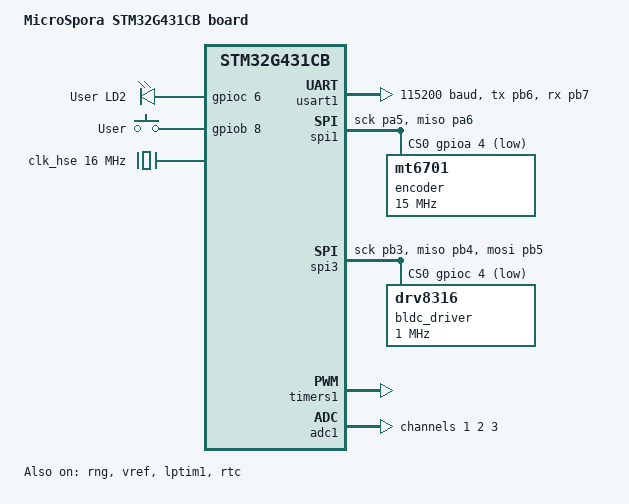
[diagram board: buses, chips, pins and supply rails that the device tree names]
/*
 * Copyright (c) 2019 Richard Osterloh <richard.osterloh@gmail.com>
 *
 * SPDX-License-Identifier: Apache-2.0
 */

/dts-v1/;
#include <st/g4/stm32g431Xb.dtsi>
#include <st/g4/stm32g431r(6-8-b)tx-pinctrl.dtsi>
#include <zephyr/dt-bindings/input/input-event-codes.h>

/ {
	model = "MicroSpora STM32G431CB board";
	compatible = "st,stm32g431cb-nucleo";

	chosen {
		zephyr,console = &usart1;
		zephyr,sram = &sram0;
		zephyr,flash = &flash0;
	};

	leds: leds {
		compatible = "gpio-leds";

		red_led: led_0 {
			gpios = <&gpioc 6 GPIO_ACTIVE_HIGH>;
			label = "User LD2";
		};
	};

	gpio_keys {
		compatible = "gpio-keys";

		user_button: button {
			label = "User";
			gpios = <&gpiob 8 GPIO_ACTIVE_HIGH>;
			zephyr,code = <INPUT_KEY_0>;
		};
	};

	aliases {
		led0 = &red_led;
		mcuboot-led0 = &red_led;
		sw0 = &user_button;
		adc0 = &adc1;
		watchdog0 = &iwdg;
	};
};

/*
zephyr_udc0: &usb {
	pinctrl-0 = <&usb_dm_pa11 &usb_dp_pa12>;
	pinctrl-names = "default";
	status = "okay";
};

#include <../boards/common/usb/cdc_acm_serial.dtsi>
*/

&clk_hse {
	clock-frequency = <DT_FREQ_M(16)>;
	status = "okay";
};

&clk_hsi48 {
	status = "okay";
};

&pll {
	div-m = <4>;
	mul-n = <85>;
	div-p = <2>;
	div-q = <2>;
	div-r = <2>;
	clocks = <&clk_hse>;
	status = "okay";
};

&rcc {
	clocks = <&pll>;
	clock-frequency = <DT_FREQ_M(170)>;
	ahb-prescaler = <1>;
	apb1-prescaler = <1>;
	apb2-prescaler = <1>;
};

&rng {
	clocks = <&rcc STM32_CLOCK_BUS_AHB2 0x04000000>,
		 <&rcc STM32_SRC_HSI48 CLK48_SEL(0)>;
	status = "okay";
};

&usart1 {
	pinctrl-0 = <&usart1_tx_pb6 &usart1_rx_pb7>;
	pinctrl-names = "default";
	current-speed = <115200>;
	status = "okay";
};

&spi1 {
	pinctrl-0 = <&spi1_sck_pa5 &spi1_miso_pa6>;
	pinctrl-names = "default";
	cs-gpios = <&gpioa 4 (GPIO_ACTIVE_LOW | GPIO_PULL_UP)>;
	status = "okay";

	encoder: mt6701@0 {
		compatible = "mt6701";
		reg = <0>;
		spi-max-frequency = <DT_FREQ_M(15)>;
		status = "okay";
	};
};

&spi3 {
	pinctrl-0 = <&spi3_sck_pb3 &spi3_miso_pb4 &spi3_mosi_pb5>;
	pinctrl-names = "default";
	cs-gpios = <&gpioc 4 (GPIO_ACTIVE_LOW | GPIO_PULL_UP)>;
	status = "okay";

	bldc_driver: drv8316@0 {
		compatible = "drv8316";
		reg = <0>;
		spi-max-frequency = <DT_FREQ_M(1)>;
		status = "okay";
	};
};

&timers1 {
	status = "okay";

	svpwm: svpwm {
		status = "okay";
		pinctrl-0 = <&tim1_ch3_pa10 &tim1_ch2_pa9 &tim1_ch1_pa8 &tim1_ch3n_pb15 &tim1_ch2n_pb14 &tim1_ch1n_pb13>;
		pinctrl-names = "default";
	};
};

&adc1 {
	#address-cells = <1>;
	#size-cells = <0>;
	st,adc-clock-source = "SYNC";
	st,adc-prescaler = <4>;
	status = "okay";

	channel@1 {
		reg = <1>;
		zephyr,gain = "ADC_GAIN_1";
		zephyr,reference = "ADC_REF_INTERNAL";
		zephyr,acquisition-time = <ADC_ACQ_TIME_MAX>;
		zephyr,resolution = <12>;
	};

	channel@2 {
		reg = <2>;
		zephyr,gain = "ADC_GAIN_1";
		zephyr,reference = "ADC_REF_INTERNAL";
		zephyr,acquisition-time = <ADC_ACQ_TIME_MAX>;
		zephyr,resolution = <12>;
	};

	channel@3 {
		reg = <3>;
		zephyr,gain = "ADC_GAIN_1";
		zephyr,reference = "ADC_REF_INTERNAL";
		zephyr,acquisition-time = <ADC_ACQ_TIME_MAX>;
		zephyr,resolution = <12>;
	};
};


&vref {
	status = "okay";
};

stm32_lp_tick_source: &lptim1 {
	clocks = <&rcc STM32_CLOCK_BUS_APB1 0x80000000>,
		 <&rcc STM32_SRC_LSE LPTIM1_SEL(3)>;
	status = "okay";
};

&rtc {
	clocks = <&rcc STM32_CLOCK_BUS_APB1 0x00000400>,
		 <&rcc STM32_SRC_LSI RTC_SEL(2)>;
	status = "okay";
};

/*
&iwdg {
	status = "okay";
};
*/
